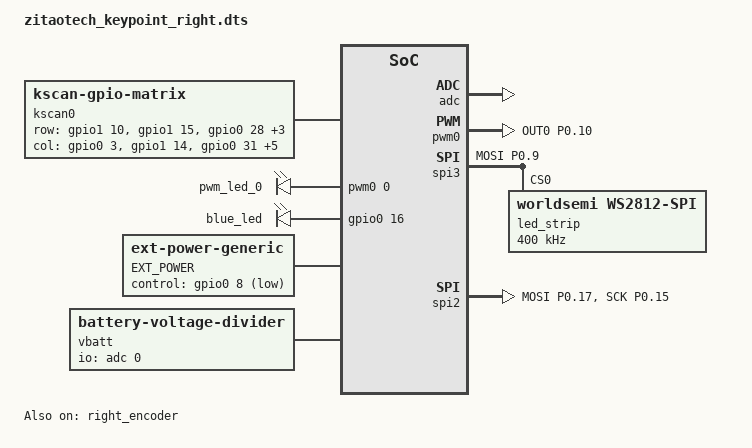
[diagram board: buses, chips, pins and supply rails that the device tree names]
/*
*
* Copyright (c) 2025 ZitaoTech
* SPDX-License-Identifier: MIT
*
*/

#include "zitaotech_keypoint.dtsi"

/ {
    chosen {
        zmk,backlight = &backlight;
        zmk,battery = &vbatt;
        zmk,underglow = &led_strip;
    }; 
    kscan0: kscan {
        compatible = "zmk,kscan-gpio-matrix";
        diode-direction = "col2row";
        wakeup-source;
        row-gpios
            = <&gpio1 10 (GPIO_ACTIVE_HIGH | GPIO_PULL_DOWN)>
            , <&gpio1 15  (GPIO_ACTIVE_HIGH | GPIO_PULL_DOWN)>
            , <&gpio0 28 (GPIO_ACTIVE_HIGH | GPIO_PULL_DOWN)>
            , <&gpio0 30  (GPIO_ACTIVE_HIGH | GPIO_PULL_DOWN)>
            , <&gpio0 12  (GPIO_ACTIVE_HIGH | GPIO_PULL_DOWN)>
            , <&gpio1 9  (GPIO_ACTIVE_HIGH | GPIO_PULL_DOWN)>
            ;
        col-gpios
            = <&gpio0 3  GPIO_ACTIVE_HIGH>
            , <&gpio1 14  GPIO_ACTIVE_HIGH>
            , <&gpio0 31  GPIO_ACTIVE_HIGH>
            , <&gpio0 29 GPIO_ACTIVE_HIGH>
            , <&gpio1 13 GPIO_ACTIVE_HIGH>
            , <&gpio1 11 GPIO_ACTIVE_HIGH>
            , <&gpio0 5 GPIO_ACTIVE_HIGH>
            , <&gpio0 27 GPIO_ACTIVE_HIGH>
            ;
    };


    backlight: pwmleds {
        compatible = "pwm-leds";
        pwm_led_0 {
            pwms = <&pwm0 0 PWM_MSEC(10) PWM_POLARITY_NORMAL>;
        };
    };


    leds {
        compatible = "gpio-leds";
        blue_led: led_0 {
            gpios = <&gpio0 16 GPIO_ACTIVE_HIGH>;
        };
    };
    // Node name must match original "EXT_POWER" label to preserve user settings.
    EXT_POWER {
        compatible = "zmk,ext-power-generic";
        control-gpios = <&gpio0 8 GPIO_ACTIVE_LOW>;
    };
    vbatt: vbatt {
        compatible = "zmk,battery-voltage-divider";
        io-channels = <&adc 0>;
        output-ohms = <2000000>;
        full-ohms = <2820000>;  // 2000000 + 820000
    };


};

&default_transform {
    col-offset = <8>;
};

&adc {
    status = "okay";
};

&gpiote {
    status = "okay";
};

&gpio0 {
    status = "okay";
};

&gpio1 {
    status = "okay";
};

&pwm0 {
    status = "okay";
    pinctrl-0 = <&pwm0_default>;
    pinctrl-1 = <&pwm0_sleep>;
    pinctrl-names = "default", "sleep";
};


&right_encoder {
    status = "okay";
};

&spi3 {
    compatible = "nordic,nrf-spim";
    status = "okay";

    pinctrl-0 = <&spi3_default>;
    pinctrl-1 = <&spi3_sleep>;
    pinctrl-names = "default", "sleep";

    led_strip: ws2812@0 {
        compatible = "worldsemi,ws2812-spi";
        /* SPI */
        reg = <0>; /* ignored, but necessary for SPI bindings */
        spi-max-frequency = <400000>;
        /* WS2812 */
        chain-length = <1>; /* number of LEDs */
        spi-one-frame = <0x70>;
        spi-zero-frame = <0x40>;
        color-mapping = <LED_COLOR_ID_GREEN
                         LED_COLOR_ID_RED
                         LED_COLOR_ID_BLUE>;
    };
};

lpm_view_spi: &spi2 {
    compatible = "nordic,nrf-spim";
    pinctrl-0 = <&spi2_default>;
    pinctrl-1 = <&spi2_sleep>;
    pinctrl-names = "default", "sleep";
    cs-gpios = <&gpio0 13 (GPIO_ACTIVE_HIGH | GPIO_PULL_DOWN) >;
};


&pinctrl {

    spi3_default: spi3_default {
        group1 {
            psels = <NRF_PSEL(SPIM_MOSI, 0, 9)>;    // Setting for RGB light, unreal
        };
    };

    spi3_sleep: spi3_sleep {
        group1 {
            psels = <NRF_PSEL(SPIM_MOSI, 0, 9)>;
            low-power-enable;
        };
    };

    pwm0_default:pwm0_default{
        group1{
            psels = <NRF_PSEL(PWM_OUT0, 0, 10)>; // Keyboard backlight unreal
        };
    };

    pwm0_sleep: pwm0_sleep {
        group1 {
            psels = <NRF_PSEL(PWM_OUT0, 0, 10)>;
            bias-pull-down;
        };
    };

    spi2_default: spi2_default {
        group1 {
            psels = <NRF_PSEL(SPIM_MOSI, 0, 17)>,
            <NRF_PSEL(SPIM_SCK, 0, 15)>;
        };
    };
    spi2_sleep: spi2_sleep {
        group1 {
            psels = <NRF_PSEL(SPIM_MOSI, 0, 17)>,
            <NRF_PSEL(SPIM_SCK, 0, 15)>;
            low-power-enable;
        };
    };

};
